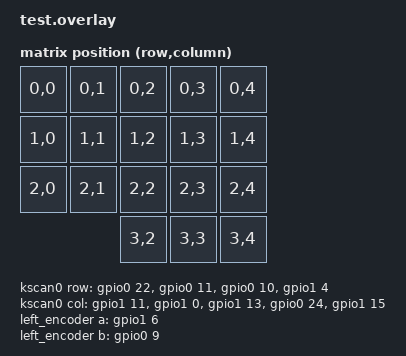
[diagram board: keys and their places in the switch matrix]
#include <dt-bindings/zmk/matrix_transform.h>

/ {
    chosen {
        zmk,kscan = &kscan0;
        zmk,matrix-transform = &default_transform;
    };

    default_transform: keymap_transform_0 {
        compatible = "zmk,matrix-transform";
        columns = <5>;
        rows = <4>;
        map = <
            RC(0,0) RC(0,1) RC(0,2) RC(0,3) RC(0,4)
            RC(1,0) RC(1,1) RC(1,2) RC(1,3) RC(1,4)
            RC(2,0) RC(2,1) RC(2,2) RC(2,3) RC(2,4)
                            RC(3,2) RC(3,3) RC(3,4)
        >;
    };

    kscan0: kscan_0 {
        compatible = "zmk,kscan-gpio-matrix";
        diode-direction = "col2row";
        wakeup-source;

        col-gpios
            = <&gpio1 11 GPIO_ACTIVE_HIGH>
            , <&gpio1 0  GPIO_ACTIVE_HIGH>
            , <&gpio1 13 GPIO_ACTIVE_HIGH>
            , <&gpio0 24 GPIO_ACTIVE_HIGH>
            , <&gpio1 15 GPIO_ACTIVE_HIGH>
            ;

        row-gpios
            = <&gpio0 22 (GPIO_ACTIVE_HIGH | GPIO_PULL_DOWN)>
            , <&gpio0 11 (GPIO_ACTIVE_HIGH | GPIO_PULL_DOWN)>
            , <&gpio0 10 (GPIO_ACTIVE_HIGH | GPIO_PULL_DOWN)>
            , <&gpio1 4  (GPIO_ACTIVE_HIGH | GPIO_PULL_DOWN)>
            ;
    };
};

/ {
    // 1. Mendefinisikan hardware encoder
    left_encoder: encoder_left {
        compatible = "alps,ec11";
        a-gpios = <&gpio1 6 (GPIO_ACTIVE_HIGH | GPIO_PULL_UP)>; // Pin 1.06
        b-gpios = <&gpio0 9 (GPIO_ACTIVE_HIGH | GPIO_PULL_UP)>; // Pin 0.09
        steps = <80>;
        status = "okay";
    };

    // 2. Mendaftarkan encoder sebagai sensor ke keymap
    sensors {
        compatible = "zmk,keymap-sensors";
        sensors = <&left_encoder>;
        triggers-per-rotation = <20>;
    };
};
